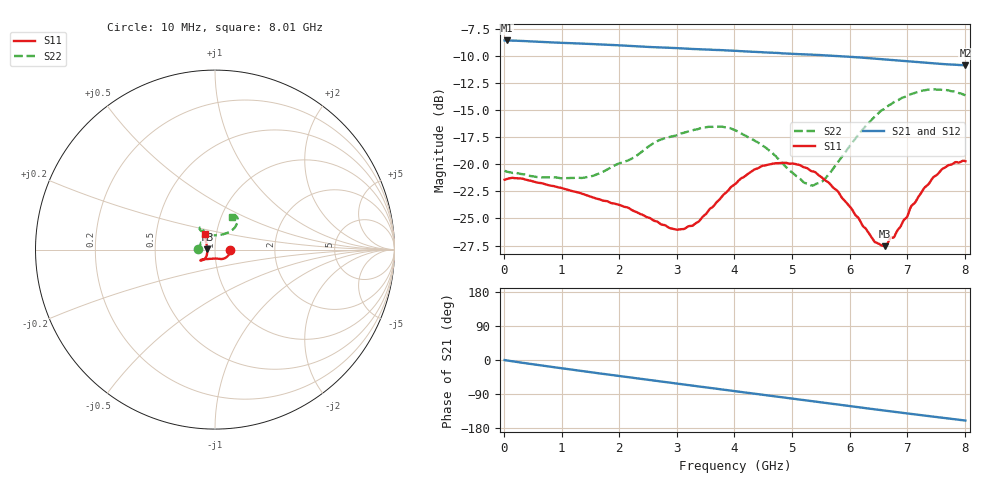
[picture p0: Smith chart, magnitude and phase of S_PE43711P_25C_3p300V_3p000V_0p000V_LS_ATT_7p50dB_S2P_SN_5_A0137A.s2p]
! Device ID: PE43711P
! File Path: z:\PE43711P\CHAR_NOM_04282014\AMB\3p300\LS_ATT_7p50dB\PE43711P_AMB_3p300V_3p000V_0p000V_LS_ATT_7p50dB_S2P_SN_5_A0137A.s2p
! Serial: 5
! Lot: A0137A
! Temp: 25C
! VDD: 3.300
! VSS: 0.000
! Control_Hi: 3.000
! Control_Lo: 0.000
! Attenuation Step: 7.50dB
! Port 1: RF1
! Port 2: RF2
! ThroughPath:1-2
! IDD: 0.0001281789
! ISS: -9.71e-008
#  Hz  S  RI  R  50
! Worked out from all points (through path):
!   801 points, 10 MHz to 8.01 GHz, reference 50 ohm
!   highest |S21| = -8.59 dB at 50 MHz (marker M1); lowest = -10.9 dB at 8.01 GHz (marker M2)
!   group delay of S21, straight-line fit = 55.2 ps
!   lowest |S11| = -27.6 dB at 6.61 GHz (marker M3), VSWR 1.09, Z = 46 + j0.11 ohm
!   |S11| at or under -10 dB: start of sweep to end of sweep
!   |S22| runs from -22.0 to -13.1 dB; largest |S21 - S12| = 0.0008
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1e7  0.0848 -0.000235  0.3718 -0.00174  0.372 -0.00186  -0.0932 0.000653
5e7  0.0855 -0.0018  0.3717 -0.00777  0.3719 -0.00773  -0.0923 0.00227
1.35e9  0.0555 -0.0477  0.3145 -0.1744  0.3147 -0.1746  -0.078 0.0372
2.18e9  0.0335 -0.0527  0.2438 -0.2526  0.244 -0.2526  -0.0668 0.0808
2.68e9  0.0179 -0.0509  0.1937 -0.2861  0.1938 -0.2862  -0.066 0.1103
2.99e9  0.00317 -0.0498  0.1606 -0.3029  0.1607 -0.303  -0.0687 0.1169
3.28e9  -0.0131 -0.0505  0.1282 -0.3145  0.1284 -0.3147  -0.0727 0.1235
3.68e9  -0.0403 -0.0527  0.0831 -0.3256  0.0831 -0.3258  -0.082 0.1244
4.01e9  -0.0604 -0.0538  0.0449 -0.33  0.0447 -0.3302  -0.0859 0.1149
4.34e9  -0.0756 -0.0563  0.00723 -0.3294  0.00715 -0.3296  -0.0765 0.1038
4.68e9  -0.0811 -0.0597  -0.0309 -0.3244  -0.031 -0.3245  -0.0601 0.0936
5.06e9  -0.0788 -0.0618  -0.0716 -0.3143  -0.0717 -0.3143  -0.0289 0.0839
5.35e9  -0.0718 -0.0587  -0.1015 -0.3031  -0.1016 -0.3034  0.000853 0.0797
5.56e9  -0.0644 -0.0553  -0.1225 -0.2932  -0.1226 -0.2933  0.0255 0.0811
5.8e9  -0.0558 -0.0496  -0.1456 -0.2795  -0.1457 -0.2793  0.053 0.0877
6.42e9  -0.0422 -0.0135  -0.1968 -0.2354  -0.1971 -0.2356  0.1096 0.1221
6.61e9  -0.0419 0.00119  -0.2094 -0.2202  -0.2095 -0.2206  0.1179 0.1369
6.68e9  -0.0437 0.00806  -0.2138 -0.2146  -0.2138 -0.2149  0.1206 0.1426
7.05e9  -0.0491 0.0386  -0.2343 -0.183  -0.2341 -0.1832  0.1259 0.1677
7.45e9  -0.056 0.0663  -0.2512 -0.148  -0.2514 -0.1481  0.1168 0.1875
7.7e9  -0.0592 0.0786  -0.2596 -0.126  -0.2595 -0.1258  0.1064 0.1918
8.01e9  -0.0565 0.0864  -0.268 -0.0985  -0.2684 -0.0978  0.0966 0.1837
